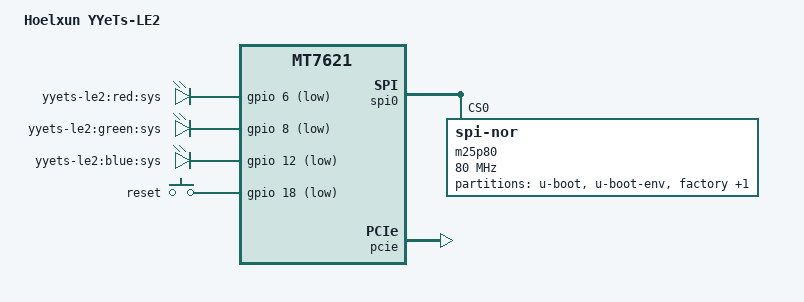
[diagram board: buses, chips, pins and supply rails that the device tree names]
// SPDX-License-Identifier: GPL-2.0-or-later OR MIT
/dts-v1/;

#include "mt7621.dtsi"

#include <dt-bindings/gpio/gpio.h>
#include <dt-bindings/input/input.h>

/ {
	compatible = "hoelxun,yyets-le2", "mediatek,mt7621-soc";
	model = "Hoelxun YYeTs-LE2";

	aliases {
		label-mac-device = &gmac0;
	};

	chosen {
		bootargs = "console=ttyS0,57600";
	};

	leds {
		compatible = "gpio-leds";

		led_red: red {
			label = "yyets-le2:red:sys";
			gpios = <&gpio 6 GPIO_ACTIVE_LOW>;
			panic-indicator;
		};

		led_green: green {
			label = "yyets-le2:green:sys";
			gpios = <&gpio 8 GPIO_ACTIVE_LOW>;
		};

		led_blue: blue {
			label = "yyets-le2:blue:sys";
			gpios = <&gpio 12 GPIO_ACTIVE_LOW>;
		};
	};

	keys {
		compatible = "gpio-keys";

		reset {
			label = "reset";
			gpios = <&gpio 18 GPIO_ACTIVE_LOW>;
			linux,code = <KEY_RESTART>;
		};
	};
};

&spi0 {
	status = "okay";

	m25p80@0 {
		compatible = "jedec,spi-nor";
		reg = <0>;
		spi-max-frequency = <80000000>;
		m25p,fast-read;

		partitions {
			compatible = "fixed-partitions";
			#address-cells = <1>;
			#size-cells = <1>;

			partition@0 {
				label = "u-boot";
				reg = <0x0 0x30000>;
				read-only;
			};

			partition@30000 {
				label = "u-boot-env";
				reg = <0x30000 0x10000>;
				read-only;
			};

			factory: partition@40000 {
				label = "factory";
				reg = <0x40000 0x10000>;
				read-only;
			};

			partition@50000 {
				compatible = "denx,uimage";
				label = "firmware";
				reg = <0x50000 0x1fb0000>;
			};
		};
	};
};

&pcie {
	status = "okay";
};

&pcie0 {
	wifi@0,0 {
		reg = <0x0000 0 0 0 0>;
		mediatek,mtd-eeprom = <&factory 0x0000>;
	};
};

&pcie1 {
	wifi@0,0 {
		reg = <0x0000 0 0 0 0>;
		mediatek,mtd-eeprom = <&factory 0x8000>;
		ieee80211-freq-limit = <5000000 6000000>;
	};
};

&gmac0 {
	mtd-mac-address = <&factory 0x28>;
};

&switch0 {
	ports {
		port@0 {
			status = "okay";
			label = "lan4";
		};
		port@1 {
			status = "okay";
			label = "lan3";
		};
		port@2 {
			status = "okay";
			label = "lan2";
		};
		port@3 {
			status = "okay";
			label = "lan1";
		};
		port@4 {
			status = "okay";
			label = "wan";
			mtd-mac-address = <&factory 0x2e>;
		};
	};
};

&state_default {
	gpio {
		groups = "i2c", "jtag", "uart2", "uart3", "wdt";
		function = "gpio";
	};
};
